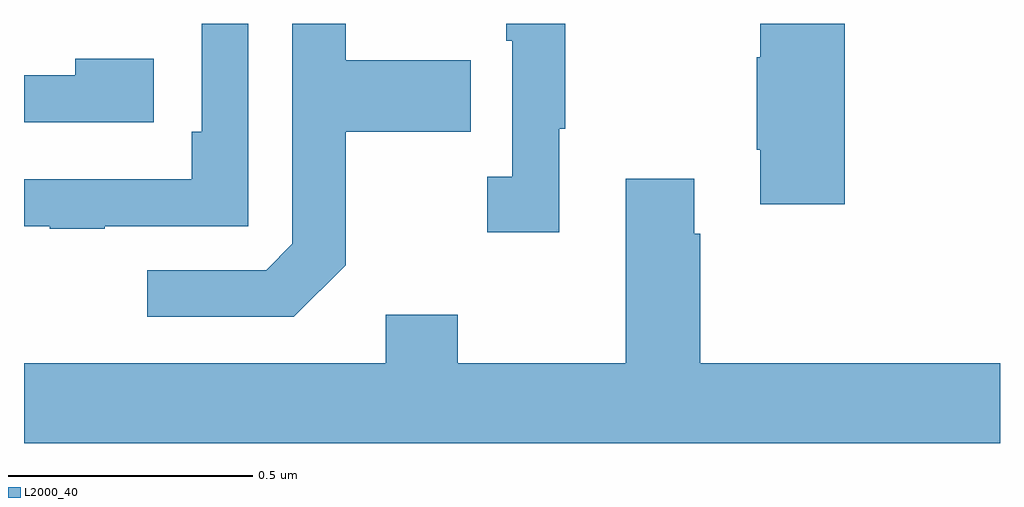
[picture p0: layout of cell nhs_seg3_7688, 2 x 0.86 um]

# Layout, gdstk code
import gdstk
lib = gdstk.Library(unit=1e-6, precision=1e-09)
def P(c, l, *ps):  # polygons
    for p in ps: c.add(gdstk.Polygon(p, *l))
L2000_40 = (2000, 40)

nhs_seg3_7688 = lib.new_cell('nhs_seg3_7688')
P(nhs_seg3_7688, L2000_40, [(207.097,744.185),(207.109,744.185),(207.109,744.4),(206.988,744.4),(206.988,744.365),(207,744.365),(207,744.086),(206.949,744.086),(206.949,743.973),(207.097,743.973)],
  [(206.659,743.905),(206.659,744.178),(206.915,744.178),(206.915,744.325),(206.659,744.325),(206.659,744.4),(206.55,744.4),(206.55,743.949),(206.496,743.895),(206.253,743.895),(206.253,743.799),(206.553,743.799)],
  [(207.682,744.4),(207.509,744.4),(207.509,744.331),(207.502,744.331),(207.502,744.142),(207.509,744.142),(207.509,744.03),(207.682,744.03)],
  [(206.165,743.985),(206.46,743.985),(206.46,744.4),(206.364,744.4),(206.364,744.178),(206.344,744.178),(206.344,744.081),(206,744.081),(206,743.985),(206.053,743.985),(206.053,743.98),(206.165,743.98)],
  [(206.266,744.328),(206.105,744.328),(206.105,744.294),(206,744.294),(206,744.198),(206.266,744.198)],
  [(208,743.704),(207.386,743.704),(207.386,743.969),(207.373,743.969),(207.373,744.082),(207.233,744.082),(207.233,743.704),(206.889,743.704),(206.889,743.803),(206.741,743.803),(206.741,743.704),(206,743.704),(206,743.54),(208,743.54)])

lib.write_gds('nhs_seg3_7688.gds')
